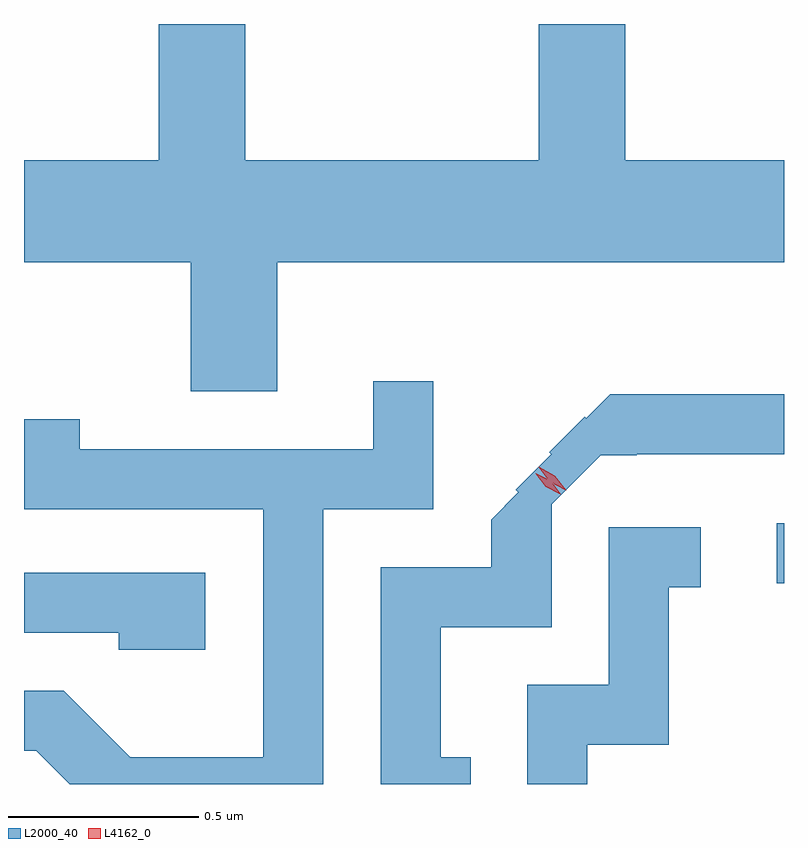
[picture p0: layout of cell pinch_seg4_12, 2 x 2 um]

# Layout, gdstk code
import gdstk
lib = gdstk.Library(unit=1e-6, precision=1e-09)
def R(c, l, rs):  # rectangles x0, y0, x1, y1
    for r in rs: c.add(gdstk.rectangle(r[:2], r[2:], *l))
def P(c, l, *ps):  # polygons
    for p in ps: c.add(gdstk.Polygon(p, *l))
L2000_40 = (2000, 40)
L4162_0 = (4162, 0)

pinch_seg4_12 = lib.new_cell('pinch_seg4_12')
R(pinch_seg4_12, L2000_40, [(862.373,1322.751,862.392,1322.909)])
P(pinch_seg4_12, L2000_40, [(861.059,1323.596),(862.392,1323.596),(862.392,1323.864),(861.974,1323.864),(861.974,1324.223),(861.746,1324.223),(861.746,1323.864),(860.974,1323.864),(860.974,1324.223),(860.746,1324.223),(860.746,1323.864),(860.392,1323.864),(860.392,1323.596),(860.831,1323.596),(860.831,1323.256),(861.059,1323.256)],
  [(861.179,1322.946),(861.469,1322.946),(861.469,1323.283),(861.311,1323.283),(861.311,1323.104),(860.539,1323.104),(860.539,1323.183),(860.392,1323.183),(860.392,1322.946),(861.021,1322.946),(861.021,1322.294),(860.672,1322.294),(860.497,1322.469),(860.392,1322.469),(860.392,1322.311),(860.424,1322.311),(860.512,1322.223),(861.179,1322.223)],
  [(861.568,1322.294),(861.489,1322.294),(861.489,1322.636),(861.781,1322.636),(861.781,1322.959),(861.91,1323.088),(862.005,1323.088),(862.005,1323.091),(862.392,1323.091),(862.392,1323.249),(861.935,1323.249),(861.871,1323.185),(861.867,1323.189),(861.774,1323.096),(861.779,1323.091),(861.686,1322.998),(861.693,1322.991),(861.621,1322.919),(861.621,1322.794),(861.331,1322.794),(861.331,1322.223),(861.568,1322.223)],
  [(861.874,1322.326),(862.089,1322.326),(862.089,1322.741),(862.173,1322.741),(862.173,1322.899),(861.931,1322.899),(861.931,1322.484),(861.716,1322.484),(861.716,1322.223),(861.874,1322.223)],
  [(860.869,1322.779),(860.392,1322.779),(860.392,1322.621),(860.641,1322.621),(860.641,1322.576),(860.869,1322.576)])
P(pinch_seg4_12, L4162_0, [(861.803,1322.986),(861.765,1323.005),(861.739,1323.04),(861.739,1323.041),(861.739,1323.041),(861.778,1323.021),(861.804,1322.986),(861.804,1322.986)],
  [(861.818,1322.996),(861.776,1323.019),(861.746,1323.057),(861.746,1323.058),(861.747,1323.058),(861.789,1323.034),(861.819,1322.996),(861.819,1322.996)])

lib.write_gds('pinch_seg4_12.gds')
